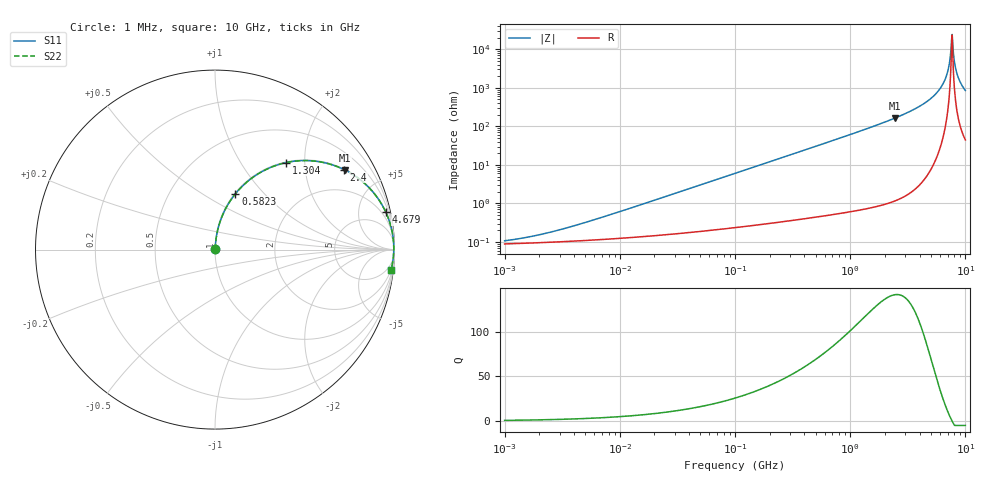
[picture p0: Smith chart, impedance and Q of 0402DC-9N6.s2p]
# MHz  S  MA  R  50
!Freq  MagS11  AngS11  MagS21  AngS21  MagS12  AngS12  MagS22  AngS22
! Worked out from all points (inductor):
!   801 points, 1 MHz to 10 GHz, reference 50 ohm
!   read as one part in series: L = 9.6 nH near 5.559 MHz
!   highest Q = 141 at 2.427 GHz (marker M1), where L = 10.7 nH
!   self-resonance near 7.589 GHz
!   S11 on the Smith chart (normalised r, x): 1 MHz: 1.00, +0.00; 582.3 MHz: 1.01, +0.71; 1.304 GHz: 1.01, +1.62; 2.4 GHz: 1.02, +3.21; 4.679 GHz: 1.11, +9.01; 10 GHz: 2, -17
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1  0.001077 34.0  0.9991 -0.0  0.9991 -0.0  0.001077 34.0
2.041806  0.001562 51.9  0.999 -0.1  0.999 -0.1  0.001562 51.9
4.67769  0.003019 68.8  0.9989 -0.2  0.9989 -0.2  0.003019 68.8
21.6303  0.01311 82.7  0.9984 -0.7  0.9984 -0.7  0.01311 82.7
100.0216  0.06014 84.3  0.9958 -3.4  0.9958 -3.4  0.06014 84.3
467.8699  0.2715 73.4  0.9583 -15.8  0.9583 -15.8  0.2715 73.4
582.2769  0.3317 69.9  0.939 -19.4  0.939 -19.4  0.3317 69.9
1303.605  0.6267 50.7  0.7739 -38.8  0.7739 -38.8  0.6267 50.7
2163.497  0.8145 35.1  0.5743 -54.5  0.5743 -54.5  0.8145 35.1
2399.708  0.8461 31.8  0.5271 -57.8  0.5271 -57.8  0.8461 31.8
2427.497  0.8494 31.5  0.5218 -58.1  0.5218 -58.1  0.8494 31.5
4679.204  0.9738 12.5  0.2162 -76.8  0.2162 -76.8  0.9738 12.5
5690.835  0.9888 7.4  0.129 -81.3  0.129 -81.3  0.9888 7.4
6459.197  0.9941 4.2  0.0737 -83.3  0.0737 -83.3  0.9941 4.2
6921.177  0.9956 2.5  0.04382 -83.0  0.04382 -83.0  0.9956 2.5
7416.199  0.9961 0.8  0.01436 -73.9  0.01436 -73.9  0.9961 0.8
7676.832  0.996 -0.1  0.004111 14.7  0.004111 14.7  0.996 -0.1
7946.626  0.9957 -0.9  0.01648 74.4  0.01648 74.4  0.9957 -0.9
8225.901  0.9951 -1.8  0.03114 80.1  0.03114 80.1  0.9951 -1.8
8613.594  0.994 -2.9  0.05092 81.8  0.05092 81.8  0.994 -2.9
9229.662  0.9915 -4.6  0.08073 81.6  0.08073 81.6  0.9915 -4.6
10000  0.9873 -6.6  0.1155 80.4  0.1155 80.4  0.9873 -6.6
